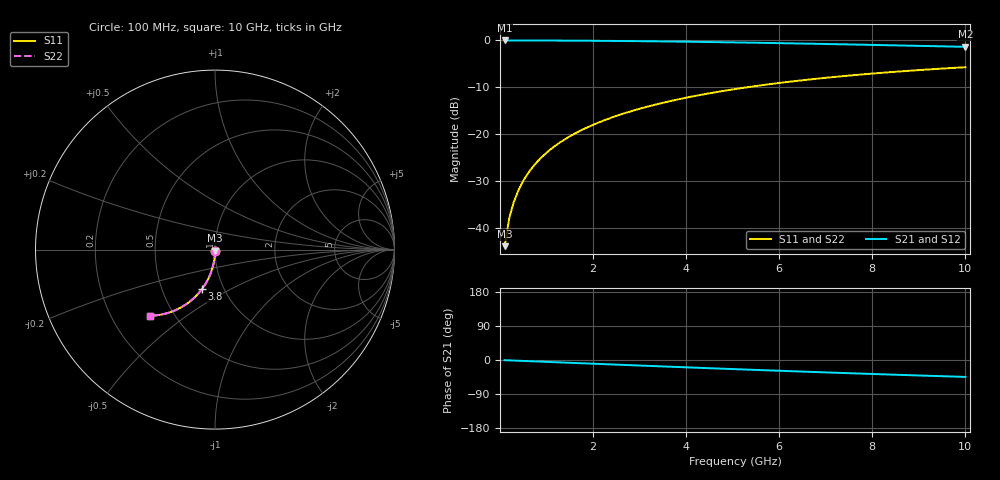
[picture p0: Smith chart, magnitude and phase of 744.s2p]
# Hz S RI R 50.00
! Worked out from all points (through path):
!   100 points, 100 MHz to 10 GHz, reference 50 ohm
!   highest |S21| = 0.00 dB at 100 MHz (marker M1); lowest = -1.4 dB at 10 GHz (marker M2)
!   group delay of S21, straight-line fit = 12.5 ps
!   lowest |S11| = -44.0 dB at 100 MHz (marker M3), VSWR 1.01, Z = 50 - j0.632 ohm
!   |S11| at or under -10 dB: start of sweep to 5.321 GHz
!   |S22| runs from -44.0 to -5.7 dB; largest |S21 - S12| = 0
!   S11 on the Smith chart (normalised r, x): 100 MHz: 1.00, -0.01; 3.8 GHz: 0.79, -0.37; 10 GHz: 0.37, -0.37
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1e8  0.000219 -0.00631  0.9997 -0.00856  0.9997 -0.00856  0.000219 -0.00631
2e8  5.13e-05 -0.0126  0.9995 -0.0171  0.9995 -0.0171  5.13e-05 -0.0126
3e8  -0.000225 -0.0189  0.9992 -0.0257  0.9992 -0.0257  -0.000225 -0.0189
4e8  -0.000608 -0.0252  0.9988 -0.0342  0.9988 -0.0342  -0.000608 -0.0252
5e8  -0.0011 -0.0315  0.9983 -0.0427  0.9983 -0.0427  -0.0011 -0.0315
6e8  -0.0017 -0.0378  0.9976 -0.0513  0.9976 -0.0513  -0.0017 -0.0378
8e8  -0.00322 -0.0503  0.996 -0.0683  0.996 -0.0683  -0.00322 -0.0503
9e8  -0.00414 -0.0566  0.9951 -0.0768  0.9951 -0.0768  -0.00414 -0.0566
1.1e9  -0.0063 -0.069  0.9928 -0.0937  0.9928 -0.0937  -0.0063 -0.069
1.4e9  -0.0103 -0.0874  0.9886 -0.1189  0.9886 -0.1189  -0.0103 -0.0874
1.8e9  -0.0171 -0.1116  0.9815 -0.152  0.9815 -0.152  -0.0171 -0.1116
2.1e9  -0.0233 -0.1293  0.975 -0.1765  0.975 -0.1765  -0.0233 -0.1293
2.5e9  -0.0328 -0.1523  0.965 -0.2086  0.965 -0.2086  -0.0328 -0.1523
2.9e9  -0.0438 -0.1745  0.9535 -0.2398  0.9535 -0.2398  -0.0438 -0.1745
3.4e9  -0.0594 -0.2009  0.937 -0.2776  0.937 -0.2776  -0.0594 -0.2009
3.8e9  -0.0734 -0.2208  0.9223 -0.3066  0.9223 -0.3066  -0.0734 -0.2208
4.4e9  -0.0963 -0.2486  0.8981 -0.3481  0.8981 -0.3481  -0.0963 -0.2486
5.1e9  -0.1258 -0.2774  0.8668 -0.3931  0.8668 -0.3931  -0.1258 -0.2774
5.9e9  -0.1623 -0.3055  0.828 -0.4397  0.828 -0.4397  -0.1623 -0.3055
6.7e9  -0.2008 -0.3282  0.7868 -0.4811  0.7868 -0.4811  -0.2008 -0.3282
8.4e9  -0.2855 -0.359  0.695 -0.5523  0.695 -0.5523  -0.2855 -0.359
1e10  -0.3639 -0.3682  0.6081 -0.6004  0.6081 -0.6004  -0.3639 -0.3682
